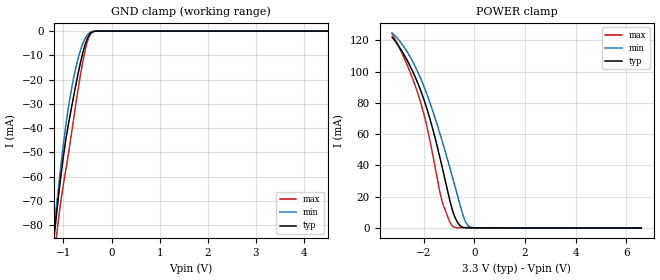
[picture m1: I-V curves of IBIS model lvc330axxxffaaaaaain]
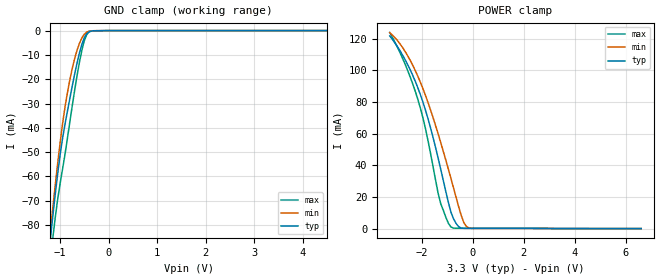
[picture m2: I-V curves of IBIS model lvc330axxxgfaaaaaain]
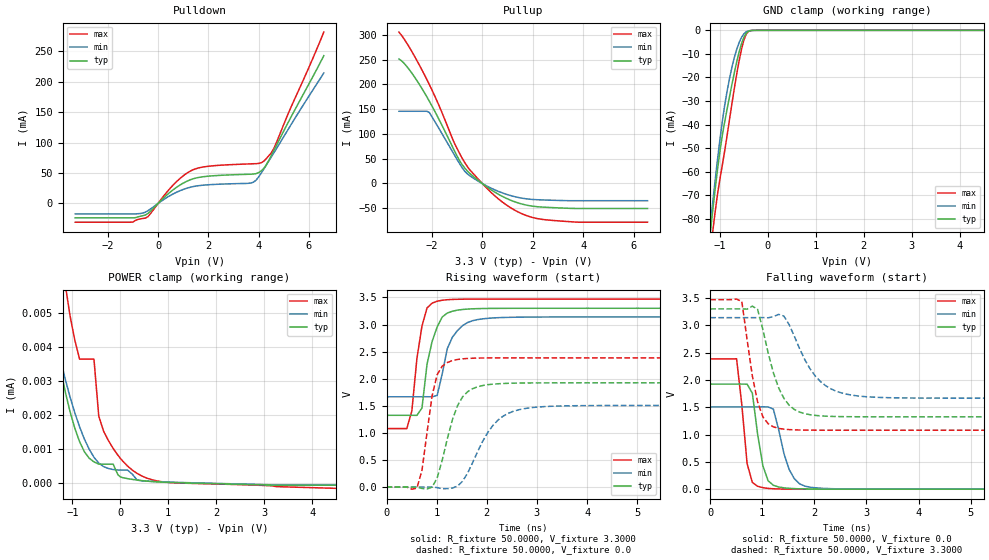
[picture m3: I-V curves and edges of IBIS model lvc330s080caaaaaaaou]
| IBIS Models Generator: Lattice Diamond (64-bit) 3.10.2.115
| Generate date: Sat Feb 02 15:01:58 2019
| IBIS File LibisMaker.ibs
| LibisGen v2.0.1.0, 02/25/2008, Lattice Semiconductor Corporation
| Modified by LibisMaker v2.0.1.0, 02/25/2008, Lattice Semiconductor
| North Carolina State University, ERL, 2006
[IBIS ver]   3.2
[File Name]   KanalogBuffer_Real_kabuf_Real.ibs
[File Rev]   3.4
[Date]   Wed Apr 27 17:34:17 PDT 2016
[Source]   Lattice Semiconductor cs200fl Process
   LCMXO2-7000HE   FINAL
   Lattice Semiconductor has worked hard to ensure the
   models below are accurate and complete.  However, the
   data below was generated using simulation of the
   input/output model files for the silicon.  Therefore,
   the data below is for reference and initial design
   purposes only.
   Lattice Semiconductor grants permission to use this
   data for use in printed circuit design using this
   Lattice programmable logic device.  Other use of this
   code, including the selling or duplication of any
   portion is strictly prohibited.
|   NAMING CONVENTION
   The IBIS [Model] header is limited by the specification to a
   total of characters.  With such a set of characters available
   for naming models it becomes important to attempt to
   meaningfully encode the IO standards so they fit within the
   twenty character limit.  It would seem that twenty characters
   would provide room enough for describing IO's.  However, the
   PLD IO structure continues to grow more and more complex.  The
   complexity is making the twenty characters insuffiently
   descriptive.  In order to overcome this issue the naming
   convention described below is implemented to resolve the issue.
The twenty character space is managed as follows:
   bbbvvvsdddprugtcoixx
   b = standard
   v = voltage (x.xx V)
   s = slew code
   d = drive (xx.x ma)
   p = pullup code
   r = series resistance  or bank_vccio code
   u = terminate to vcc code
   g = terminate to gnd code
   t = terminate to vtt code
   c = common mode termination mode
   o = diff resistor code
   i = diff resistor current code
   x = reserved
   standard
   lvcmos   lvc
   lvcmosd   lvd
   lvcmosr   lvr
   lvds25e   lve
   lvttl   lvt
   lvttld   ltd
   pci   pci
   sstl_I   ss1
   sstl_II   ss2
   sstld_I   s1d
   sstld_II   s2d
   hstl_i   hs1
   hstl_ii   hs2
   hstld_i   h1d
   hstld_ii   h2d
   lvds25   lvs
   blvds25   blv
   blvds25e   blv
   mlvds25   mlv
   mlvds25e   mlv
   lvpecl33   lvp
   lvpecl33e   lvp
   rsds25   rsd
   rsds25e   rse
   mipi   mip
   mipi_lp   mip
   vref1   vr1
   vref2   vr2
   ref_res   rer
   slew
   na   a
   fast   f
   slow   s
   pullmode
   off   a
   pullup   b
   pulldown   c
   bushold   d
   clamp   e
   up_clamp   f
   down_clamp   g
   keeper_clamp   h
   impedance or Bank_vccio
   off   a
   25   b
   33   c
   50   d
   100   e
   3.3   f
   2.5   g
   1.8   h
   1.5   i
   1.2   j
   termVCC
   off   a
   50   b
   100   c
   120   d
   termGND
   off   a
   50   b
   100   c
   120   d
   termVTT
   off   a
   60   b
   75   c
   120   d
   150   e
   210   f
   VCMT
   off   a
   VCMT   b
   VTT   c
   DDR-2   d
   differential resistor
   off   a
   100   b
   diff drive
   NA   a
   2.0   b
   3.5   c
   1.25   f
   2.5   g
   Reserved   IO type
   in   input only
   ou   output
   io   I/O
   od   Open drain
   on   Inverting differential I/O
   (signal name only)
   op   Non-Inverting differential I/O
   (signal name only)
   Lattice Semiconductor Corporation
   5555 NE Moore Court
   Hillsboro, OR 97214
   U.S.A
   TEL: 1-800-Lattice (USA and Canada)
   408-826-6000 (other locations)
   web: http://www.latticesemi.com/
   email: techsupport@latticesemi.com
[Disclaimer] This IBIS source code is intended as a design reference
   which illustrates how the Lattice Semiconductor device operates.
   It is the user's responsibility to verify their design for
   consistency and functionality through the use of formal
   verification methods.  Lattice Semiconductor provides no warranty
   regarding the use or functionality of this data.
[Copyright]   Copyright 2007 by Lattice Semiconductor Corporation
|   Component XO2
[Component]   XO2
[Manufacturer]   Lattice Semiconductor Corp.
[Package]
|TQFP144
| variable   typ   min   max
R_pkg   159.8m   143.8m   177.3m
L_pkg   7.50nH   6.34nH   8.65nH
C_pkg   1.22pF   1.06pF   1.38pF
[Pin] signal_name   model_name   R_pin   L_pin   C_pin
100   AinDout   lvc330axxxgfaaaaaain
106   AinDoutBuff   lvc330s080caaaaaaaou
95   Dclk   lvc330axxxgfaaaaaain
98   Ddin   lvc330s080caaaaaaaou
96   Ddout   lvc330axxxgfaaaaaain
97   Dlatch   lvc330axxxgfaaaaaain
2   dac_clk   lvc330s080caaaaaaaou
73   dac_out[0]   lvc330s080caaaaaaaou
1   dac_out[1]   lvc330s080caaaaaaaou
74   dac_out[2]   lvc330s080caaaaaaaou
75   dac_out[3]   lvc330s080caaaaaaaou
6   dac_out[4]   lvc330s080caaaaaaaou
5   dac_out[5]   lvc330s080caaaaaaaou
4   dac_out[6]   lvc330s080caaaaaaaou
3   dac_out[7]   lvc330s080caaaaaaaou
91   k_clk   lvc330axxxgfaaaaaain
132   k_in[0]   lvc330axxxffaaaaaain
61   k_in[16]   lvc330axxxffaaaaaain
62   k_in[17]   lvc330axxxffaaaaaain
65   k_in[18]   lvc330axxxffaaaaaain
67   k_in[19]   lvc330axxxffaaaaaain
133   k_in[1]   lvc330axxxffaaaaaain
68   k_in[20]   lvc330axxxffaaaaaain
69   k_in[21]   lvc330axxxffaaaaaain
70   k_in[22]   lvc330axxxffaaaaaain
71   k_in[23]   lvc330axxxffaaaaaain
138   k_in[2]   lvc330axxxffaaaaaain
139   k_in[3]   lvc330axxxffaaaaaain
140   k_in[4]   lvc330axxxffaaaaaain
141   k_in[5]   lvc330axxxffaaaaaain
142   k_in[6]   lvc330axxxffaaaaaain
143   k_in[7]   lvc330axxxffaaaaaain
111   k_in[8]   lvc330axxxffaaaaaain
112   k_in[9]   lvc330axxxffaaaaaain
50   k_out[0]   lvc330s080caaaaaaaou
39   k_out[10]   lvc330s080caaaaaaaou
38   k_out[11]   lvc330s080caaaaaaaou
35   k_out[12]   lvc330s080caaaaaaaou
34   k_out[13]   lvc330s080caaaaaaaou
33   k_out[14]   lvc330s080caaaaaaaou
32   k_out[15]   lvc330s080caaaaaaaou
49   k_out[1]   lvc330s080caaaaaaaou
48   k_out[2]   lvc330s080caaaaaaaou
47   k_out[3]   lvc330s080caaaaaaaou
45   k_out[4]   lvc330s080caaaaaaaou
44   k_out[5]   lvc330s080caaaaaaaou
43   k_out[6]   lvc330s080caaaaaaaou
42   k_out[7]   lvc330s080caaaaaaaou
41   k_out[8]   lvc330s080caaaaaaaou
40   k_out[9]   lvc330s080caaaaaaaou
28   ka_in[0]   lvc330axxxffaaaaaain
14   ka_in[10]   lvc330axxxffaaaaaain
13   ka_in[11]   lvc330axxxffaaaaaain
12   ka_in[12]   lvc330axxxffaaaaaain
11   ka_in[13]   lvc330axxxffaaaaaain
10   ka_in[14]   lvc330axxxffaaaaaain
9   ka_in[15]   lvc330axxxffaaaaaain
27   ka_in[1]   lvc330axxxffaaaaaain
26   ka_in[2]   lvc330axxxffaaaaaain
25   ka_in[3]   lvc330axxxffaaaaaain
24   ka_in[4]   lvc330axxxffaaaaaain
23   ka_in[5]   lvc330axxxffaaaaaain
22   ka_in[6]   lvc330axxxffaaaaaain
21   ka_in[7]   lvc330axxxffaaaaaain
20   ka_in[8]   lvc330axxxffaaaaaain
19   ka_in[9]   lvc330axxxffaaaaaain
120   ka_out[0]   lvc330s080caaaaaaaou
58   ka_out[10]   lvc330s080caaaaaaaou
57   ka_out[11]   lvc330s080caaaaaaaou
56   ka_out[12]   lvc330s080caaaaaaaou
55   ka_out[13]   lvc330s080caaaaaaaou
54   ka_out[14]   lvc330s080caaaaaaaou
52   ka_out[15]   lvc330s080caaaaaaaou
122   ka_out[1]   lvc330s080caaaaaaaou
119   ka_out[2]   lvc330s080caaaaaaaou
121   ka_out[3]   lvc330s080caaaaaaaou
114   ka_out[4]   lvc330s080caaaaaaaou
117   ka_out[5]   lvc330s080caaaaaaaou
113   ka_out[6]   lvc330s080caaaaaaaou
115   ka_out[7]   lvc330s080caaaaaaaou
60   ka_out[8]   lvc330s080caaaaaaaou
59   ka_out[9]   lvc330s080caaaaaaaou
94   kreset   lvc330axxxffaaaaaain
92   start_in   lvc330axxxgfaaaaaain
| Models and submodels in the file (3): lvc330axxxffaaaaaain (Input), lvc330axxxgfaaaaaain (Input), lvc330s080caaaaaaaou (Output)
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[Model]   lvc330axxxffaaaaaain
Model_type   Input
Polarity   Non-Inverting
Enable   Active-Low
Vinl =   0.8000V
Vinh =   2.0000V
C_comp   4.2000pF   3.8000pF   7.5000pF
[Temperature Range]   25.0000   0.1050k   -40.0000
[Voltage Range]   3.3000V   3.1400V   3.4700V
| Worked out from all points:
|   GND clamp passes 1 mA (typ) near -0.44 V on its own axis
|   POWER clamp passes 1 mA (typ) near -0.53 V on its own axis
[GND_clamp]
|Voltage   I(typ)   I(min)   I(max)
-3.3V     -955.2mA   -930.2mA   -977.8mA
-1.2V     -86.07mA   -82.87mA   -94.72mA
-1.15V    -76.63mA   -73.23mA   -85.56mA
-1.1V     -67.6mA    -63.89mA   -77.1mA
-1V       -51.41mA   -46.51mA   -63.05mA
-900mV    -38.77mA   -31.83mA   -51.09mA
-800mV    -28.16mA   -20.53mA   -37.81mA
-700mV    -18.01mA   -11.59mA   -24.66mA
-600mV    -9.192mA   -5.229mA   -12.92mA
-450mV    -1.151mA   -576.6uA   -1.527mA
-300mV    -17.4uA    -15.66uA   -11.6uA
6.6V      0A         0A         0A
[POWER_clamp]
|Voltage   I(typ)   I(min)   I(max)
-3.25V    122.1mA    124.8mA    124.2mA
-2.65V    107.1mA    112.6mA    104.1mA
-2.35V    97.06mA    103.7mA    91.56mA
-2.05V    84.81mA    92.86mA    76.2mA
-1.65V    63.69mA    75.19mA    47.4mA
-1.35V    44.32mA    59.82mA    21.89mA
-1.25V    37.38mA    54.39mA    15.53mA
-850mV    10.3mA     31.63mA    860uA
-650mV    3.168mA    19.76mA    65.53uA
-350mV    73.34uA    3.862mA    3.121uA
-150mV    17.77uA    366.8uA    -28.16uA
6.6V      -143.8uA   -91.66uA   -226.3uA
[Model]   lvc330axxxgfaaaaaain
Model_type   Input
Polarity   Non-Inverting
Enable   Active-Low
Vinl =   0.8000V
Vinh =   2.0000V
C_comp   4.2000pF   3.8000pF   7.5000pF
[Temperature Range]   25.0000   0.1050k   -40.0000
[Voltage Range]   3.3000V   3.1400V   3.4700V
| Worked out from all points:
|   GND clamp passes 1 mA (typ) near -0.43 V on its own axis
|   POWER clamp passes 1 mA (typ) near -0.53 V on its own axis
[GND_clamp]
|Voltage   I(typ)   I(min)   I(max)
-3.3V     -955.3mA   -930.3mA   -978mA
-1.2V     -86.21mA   -82.95mA   -94.94mA
-1.15V    -76.76mA   -73.31mA   -85.77mA
-1.1V     -67.73mA   -63.97mA   -77.32mA
-1V       -51.54mA   -46.59mA   -63.26mA
-900mV    -38.9mA    -31.9mA    -51.31mA
-800mV    -28.29mA   -20.61mA   -38.02mA
-700mV    -18.14mA   -11.66mA   -24.86mA
-600mV    -9.315mA   -5.302mA   -13.12mA
-450mV    -1.255mA   -637uA     -1.701mA
0V        0A         0A         0A
6.6V      0A         0A         0A
[POWER_clamp]
|Voltage   I(typ)   I(min)   I(max)
-3.25V    121.9mA    123.9mA    124.1mA
-2.65V    106.9mA    112.1mA    104.1mA
-2.35V    96.95mA    103.3mA    91.59mA
-2.05V    84.73mA    92.58mA    76.25mA
-1.65V    63.65mA    75mA       47.49mA
-1.35V    44.31mA    59.69mA    21.99mA
-1.25V    37.38mA    54.28mA    15.6mA
-850mV    10.32mA    31.58mA    939uA
-650mV    3.193mA    19.74mA    210uA
-350mV    132.1uA    3.862mA    199.7uA
-150mV    104.6uA    375.8uA    197.7uA
6.6V      -56.35nA   -1.463uA   -71.55uA
[Model]   lvc330s080caaaaaaaou
Model_type   Output
Polarity   Non-Inverting
Enable   Active-Low
Vmeas =   1.500000V
Cref =   0.0F
Rref =   1.0000M
Vref =   0.0V
C_comp   4.2000pF   3.8000pF   7.5000pF
[Temperature Range]   25.0000   0.1050k   -40.0000
[Voltage Range]   3.3000V   3.1400V   3.4700V
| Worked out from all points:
|   slope of the pulldown table from 0 to 0.495 V, typ, clamps not added: 26 ohm
|   slope of the pullup table from 0 to 0.495 V, typ, clamps not added: 28.5 ohm
|   GND clamp passes 1 mA (typ) near -0.44 V on its own axis
|   rising waveform, R_fixture 50.0000, V_fixture 3.3000: 20-80 % time 251ps typ, 301ps min, 192ps max; typ from 1.32 V to 3.3 V
|   rising waveform, R_fixture 50.0000, V_fixture 0.0: 20-80 % time 363ps typ, 551ps min, 235ps max; typ from 0 V to 1.92 V
|   falling waveform, R_fixture 50.0000, V_fixture 0.0: 20-80 % time 188ps typ, 267ps min, 144ps max; typ from 1.92 V to 0 V
|   falling waveform, R_fixture 50.0000, V_fixture 3.3000: 20-80 % time 370ps typ, 535ps min, 253ps max; typ from 3.3 V to 1.32 V
[Pulldown]
|Voltage   I(typ)   I(min)   I(max)
-3.3V     -23.68mA   -17.2mA    -30.83mA
-1.1V     -23.68mA   -17.2mA    -30.83mA
-500mV    -18.89mA   -14.22mA   -24.07mA
-400mV    -16.44mA   -11.92mA   -21.58mA
600mV     22.43mA    15.62mA    30.22mA
1.3V      39.15mA    26.81mA    53.52mA
2V        44.82mA    30.69mA    61.1mA
3.7V      48.02mA    33.59mA    65.1mA
3.9V      48.94mA    38.13mA    65.35mA
4.2V      57.11mA    55.89mA    69.15mA
4.6V      86.19mA    82.47mA    89.45mA
6.6V      242.9mA    214.5mA    281.7mA
[Pullup]
|Voltage   I(typ)   I(min)   I(max)
-3.3V     251.3mA    145.8mA    305.6mA
-2.8V     223.5mA    145.8mA    267.3mA
-2.1V     166.4mA    143.5mA    200mA
-1.7V     127.9mA    109.7mA    155.7mA
-1.1V     65.82mA    57.34mA    80.93mA
-700mV    31.56mA    25.14mA    42.75mA
100mV     -3.836mA   -2.847mA   -5.414mA
800mV     -26.11mA   -19.07mA   -37.53mA
1.5V      -40.43mA   -28.94mA   -59.42mA
2.3V      -47.34mA   -33.02mA   -71.88mA
3.8V      -50.39mA   -34.76mA   -78.11mA
6.55V     -50.39mA   -34.76mA   -78.11mA
[GND_clamp]
|Voltage   I(typ)   I(min)   I(max)
-3.3V     -955.3mA   -930.3mA   -978mA
-1.2V     -86.18mA   -82.93mA   -94.91mA
-1.15V    -76.73mA   -73.29mA   -85.74mA
-1.1V     -67.71mA   -63.95mA   -77.28mA
-1V       -51.52mA   -46.57mA   -63.21mA
-900mV    -38.87mA   -31.88mA   -51.26mA
-800mV    -28.25mA   -20.58mA   -37.97mA
-700mV    -18.1mA    -11.63mA   -24.81mA
-600mV    -9.267mA   -5.265mA   -13.06mA
-450mV    -1.181mA   -586.6uA   -1.592mA
-250mV    -3.532uA   -4.055uA   -3.003uA
6.6V      0A         0A         0A
[POWER_clamp]
|Voltage   I(typ)   I(min)   I(max)
-3.25V    664.8uA    749.4uA    597.1uA
-1.55V    5.914uA    5.712uA    11.4uA
-1.45V    4.987uA    4.974uA    9.751uA
-1.15V    2.703uA    3.073uA    5.863uA
-850mV    1.226uA    1.662uA    3.655uA
-550mV    631.3nA    766.5nA    3.655uA
-450mV    563.6nA    595.5nA    1.977uA
-150mV    563.6nA    404.4nA    1.026uA
0V        190.5nA    391.2nA    734.7nA
450mV     79.23nA    72.94nA    213.9nA
950mV     30.32nA    38.42nA    33.55nA
6.6V      -57.56nA   -49.34nA   -232.5nA
[Ramp]
| variable   typ   min   max
dV/dt_r  1.1542/0.3590n   0.9035/0.5460n   1.4308/0.2329n
dV/dt_f  1.1855/0.3662n   0.8843/0.5297n   1.4345/0.2507n
R_load = 50.0000
[Rising Waveform]
R_fixture=   50.0000
V_fixture=   3.3000
V_fixture_min=   3.1400
V_fixture_max=   3.4700
|time   V(typ)   V(min)   V(max)
0s        1.324V     1.666V     1.079V
404ps     1.324V     1.666V     1.079V
505.1ps   1.324V     1.666V     1.407V
606.1ps   1.323V     1.666V     2.373V
707.1ps   1.46V      1.666V     2.973V
808.1ps   2.269V     1.667V     3.306V
1.01ns    2.956V     1.691V     3.43V
1.313ns   3.246V     2.765V     3.463V
1.818ns   3.293V     3.091V     3.469V
10ns      3.3V       3.14V      3.47V
[Rising Waveform]
R_fixture=   50.0000
V_fixture=   0.0
V_fixture_min=   0.0
V_fixture_max=   0.0
|time   V(typ)   V(min)   V(max)
0s        830nV      1.065uV    812.2nV
606.1ps   -647.3uV   2.343uV    -19.28mV
707.1ps   -25.56mV   18.24uV    307.2mV
909.1ps   -1.644mV   -352.6uV   1.685V
1.01ns    168.3mV    -10.05mV   2.075V
1.313ns   1.24V      -19.03mV   2.334V
1.717ns   1.816V     450.2mV    2.378V
2.121ns   1.9V       1.136V     2.384V
2.727ns   1.921V     1.444V     2.385V
10ns      1.924V     1.506V     2.385V
[Falling Waveform]
R_fixture=   50.0000
V_fixture=   0.0
V_fixture_min=   0.0
V_fixture_max=   0.0
|time   V(typ)   V(min)   V(max)
0s        1.924V     1.506V     2.385V
505.1ps   1.924V     1.506V     2.387V
707.1ps   1.923V     1.506V     469.1mV
808.1ps   1.757V     1.506V     123.1mV
1.01ns    427.9mV    1.507V     27.45mV
1.212ns   71.02mV    1.464V     7.412mV
1.414ns   24.43mV    655.3mV    2.129mV
1.616ns   9.884mV    189mV      652.9uV
1.919ns   2.628mV    35.9mV     184.5uV
10ns      -6.753uV   -8.585uV   -14.06uV
[Falling Waveform]
R_fixture=   50.0000
V_fixture=   3.3000
V_fixture_min=   3.1400
V_fixture_max=   3.4700
|time   V(typ)   V(min)   V(max)
0s        3.3V       3.14V      3.47V
606.1ps   3.3V       3.14V      3.436V
808.1ps   3.351V     3.14V      2.072V
909.1ps   3.292V     3.14V      1.597V
1.111ns   2.497V     3.138V     1.198V
1.313ns   1.855V     3.2V       1.113V
1.616ns   1.458V     2.796V     1.086V
2.02ns    1.35V      2.067V     1.08V
2.626ns   1.327V     1.737V     1.079V
10ns      1.324V     1.666V     1.079V
